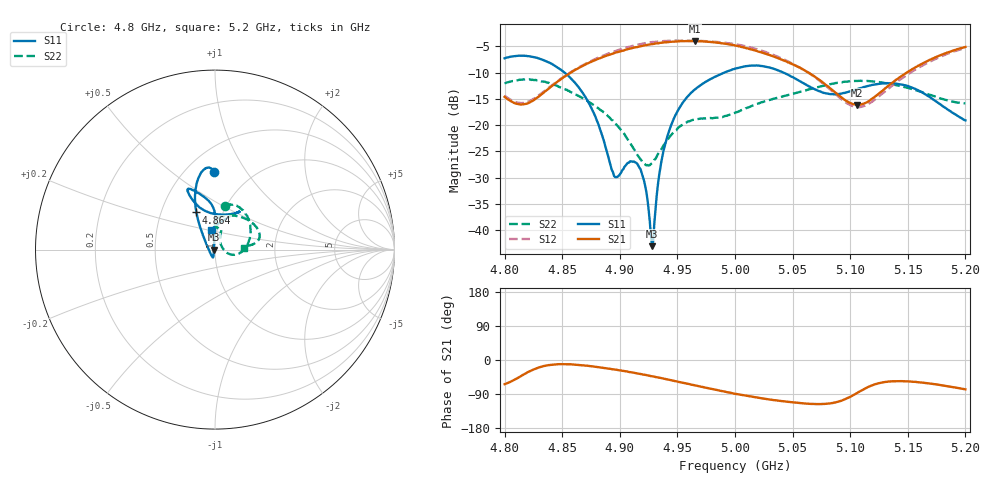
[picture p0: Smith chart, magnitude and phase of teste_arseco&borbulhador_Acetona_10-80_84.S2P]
! Network Analyzer HP8722D
! Hewlett-Packard
! Data name: Linha & Wilkinson
! Saver's name: Rodrigo Anjos
! Comments: Teste da utilização de aquisição
! continua pelo VNA HP8722D
! Time and date: 25/4/2025 15:58
!  Frequency  S11  S21  S12  S22
# HZ  S  MA R 50
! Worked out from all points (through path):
!   401 points, 4.8 GHz to 5.2 GHz, reference 50 ohm
!   highest |S21| = -3.97 dB at 4.965 GHz (marker M1); lowest = -16.1 dB at 5.106 GHz (marker M2)
!   lowest |S11| = -43.1 dB at 4.928 GHz (marker M3), VSWR 1.01, Z = 49.3 - j0.118 ohm
!   |S11| at or under -10 dB: 4.852 GHz to 4.991 GHz (138.6 MHz wide, 2.82 % of centre); 5.042 GHz to end of sweep
!   |S22| runs from -27.7 to -11.3 dB; largest |S21 - S12| = 1.2
!   S11 on the Smith chart (normalised r, x): 4.8 GHz: 0.68, +0.72; 4.864 GHz: 0.75, +0.33; 5.2 GHz: 0.94, +0.21
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4.8e9  0.4334 90.7  0.1861 -63.8  0.1911 69.6  0.2499 77.1
4.82e9  0.4536 96.9  0.1611 -32.3  0.1669 98.3  0.2718 61.9
4.864e9  0.2317 116.6  0.349 -12.9  0.3524 121.0  0.1901 12.2
4.867e9  0.2088 118.2  0.3631 -13.8  0.3672 120.7  0.183 8.7
4.88e9  0.111 128.4  0.4227 -18.5  0.4327 118.3  0.1486 -5.2
4.895e9  0.0328 -174.4  0.4857 -24.9  0.502 113.9  0.1066 -15.6
4.909e9  0.04529 -107.1  0.5364 -31.9  0.5612 107.7  0.06745 -14.6
4.917e9  0.03936 -103.4  0.5623 -36.3  0.5891 103.5  0.04897 -1.6
4.922e9  0.0265 -106.3  0.5761 -39.2  0.6023 100.8  0.0423 16.6
4.928e9  0.007031 -170.2  0.5916 -42.9  0.6181 97.0  0.04325 40.8
4.93e9  0.01171 123.7  0.5959 -44.2  0.6199 95.6  0.04675 48.0
4.934e9  0.0325 99.6  0.6042 -46.8  0.6283 93.3  0.05468 58.2
4.939e9  0.06332 93.0  0.6153 -49.8  0.6344 90.0  0.06621 65.4
4.946e9  0.1094 89.8  0.625 -54.5  0.64 85.7  0.084 70.4
4.965e9  0.2177 91.0  0.6332 -66.9  0.6369 73.5  0.1136 71.5
5e9  0.3452 109.1  0.5739 -89.1  0.5932 50.9  0.1311 88.5
5.03e9  0.3542 115.1  0.4659 -104.1  0.4809 33.8  0.1734 85.5
5.067e9  0.2263 105.2  0.3011 -115.9  0.2987 23.6  0.222 57.2
5.106e9  0.2199 64.6  0.1561 -87.0  0.1482 55.8  0.2635 24.9
5.134e9  0.2506 57.2  0.2401 -56.6  0.2267 88.7  0.248 12.4
5.169e9  0.1852 69.8  0.419 -62.0  0.4015 84.9  0.1947 6.9
5.2e9  0.111 100.4  0.5553 -77.5  0.5439 70.2  0.1611 3.7
